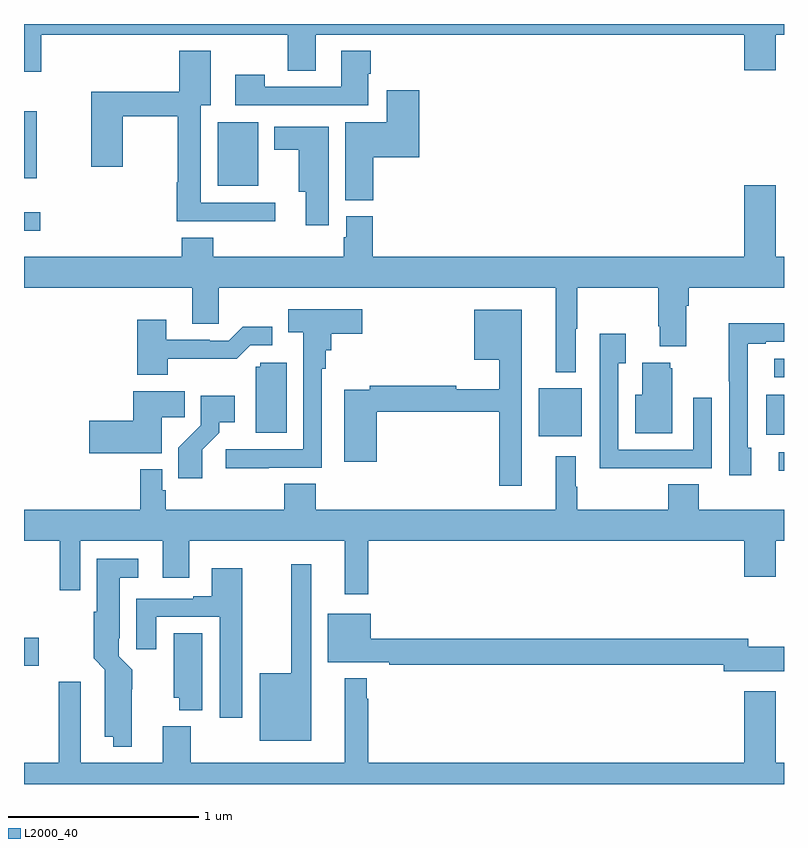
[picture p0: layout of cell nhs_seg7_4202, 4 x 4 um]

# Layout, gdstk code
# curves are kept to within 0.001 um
import gdstk
lib = gdstk.Library(unit=1e-6, precision=1e-09)
def R(c, l, rs):  # rectangles x0, y0, x1, y1
    for r in rs: c.add(gdstk.rectangle(r[:2], r[2:], *l))
def P(c, l, *ps):  # polygons
    for p in ps: c.add(gdstk.Polygon(p, *l))
L2000_40 = (2000, 40)

nhs_seg7_4202 = lib.new_cell('nhs_seg7_4202')
R(nhs_seg7_4202, L2000_40, [(377,1002.623,377.077,1002.77), (380.973,1003.649,381,1003.746), (379.709,1003.829,379.936,1004.083), (380.906,1003.838,381,1004.05), (380.949,1004.142,381,1004.238), (377,1004.912,377.086,1005.009), (378.02,1005.149,378.232,1005.484), (377,1005.188,377.068,1005.541)])
P(nhs_seg7_4202, L2000_40, [(377.09,1005.944),(378.388,1005.944),(378.388,1005.754),(378.535,1005.754),(378.535,1005.944),(380.792,1005.944),(380.792,1005.756),(380.956,1005.756),(380.956,1005.944),(381,1005.944),(381,1006),(377,1006),(377,1005.75),(377.09,1005.75)],
  [(378.322,1005.06),(377.929,1005.06),(377.929,1005.572),(377.983,1005.572),(377.983,1005.859),(377.816,1005.859),(377.816,1005.643),(377.354,1005.643),(377.354,1005.249),(377.52,1005.249),(377.52,1005.514),(377.809,1005.514),(377.809,1005.167),(377.804,1005.167),(377.804,1004.963),(378.322,1004.963)],
  [(378.811,1005.739),(378.824,1005.739),(378.824,1005.859),(378.671,1005.859),(378.671,1005.669),(378.267,1005.669),(378.267,1005.733),(378.111,1005.733),(378.111,1005.573),(378.811,1005.573)],
  [(378.839,1005.299),(379.079,1005.299),(379.079,1005.652),(378.908,1005.652),(378.908,1005.484),(378.692,1005.484),(378.692,1005.073),(378.839,1005.073)],
  [(378.604,1005.46),(378.317,1005.46),(378.317,1005.338),(378.446,1005.338),(378.446,1005.116),(378.482,1005.116),(378.482,1004.94),(378.604,1004.94)],
  [(379.903,1004.396),(379.913,1004.396),(379.913,1004.612),(380.338,1004.612),(380.338,1004.41),(380.345,1004.41),(380.345,1004.303),(380.485,1004.303),(380.485,1004.516),(380.498,1004.516),(380.498,1004.612),(381,1004.612),(381,1004.776),(380.956,1004.776),(380.956,1005.151),(380.792,1005.151),(380.792,1004.776),(378.836,1004.776),(378.836,1004.988),(378.695,1004.988),(378.695,1004.877),(378.683,1004.877),(378.683,1004.776),(377.996,1004.776),(377.996,1004.875),(377.831,1004.875),(377.831,1004.776),(377,1004.776),(377,1004.612),(377.885,1004.612),(377.885,1004.422),(378.024,1004.422),(378.024,1004.612),(379.799,1004.612),(379.799,1004.168),(379.903,1004.168)],
  [(378.287,1003.665),(378.567,1003.665),(378.567,1004.186),(378.587,1004.186),(378.587,1004.282),(378.617,1004.282),(378.617,1004.371),(378.781,1004.371),(378.781,1004.5),(378.391,1004.5),(378.391,1004.378),(378.471,1004.378),(378.471,1003.761),(378.063,1003.761),(378.063,1003.663),(378.287,1003.663)],
  [(379.621,1004.497),(379.37,1004.497),(379.37,1004.234),(379.5,1004.234),(379.5,1004.077),(379.274,1004.077),(379.274,1004.096),(378.82,1004.096),(378.82,1004.076),(378.686,1004.076),(378.686,1003.695),(378.857,1003.695),(378.857,1003.96),(379.5,1003.96),(379.5,1003.569),(379.621,1003.569)],
  [(377.757,1004.238),(378.119,1004.237),(378.192,1004.31),(378.306,1004.31),(378.306,1004.407),(378.151,1004.407),(378.078,1004.334),(377.978,1004.334),(377.978,1004.337),(377.749,1004.337),(377.749,1004.443),(377.597,1004.443),(377.597,1004.153),(377.757,1004.153)],
  [(380.827,1003.77),(380.808,1003.77),(380.808,1004.316),(380.905,1004.316),(380.905,1004.328),(381,1004.328),(381,1004.426),(380.71,1004.426),(380.71,1004.119),(380.712,1004.119),(380.712,1003.626),(380.827,1003.626)],
  [(380.303,1003.662),(380.619,1003.662),(380.619,1004.032),(380.523,1004.032),(380.523,1003.758),(380.127,1003.758),(380.127,1004.215),(380.167,1004.215),(380.167,1004.371),(380.031,1004.371),(380.031,1003.661),(380.303,1003.661)],
  [(380.413,1004.187),(380.402,1004.187),(380.402,1004.218),(380.255,1004.218),(380.255,1004.05),(380.216,1004.05),(380.216,1003.847),(380.413,1003.847)],
  [(378.382,1004.217),(378.243,1004.217),(378.243,1004.196),(378.221,1004.196),(378.221,1003.848),(378.382,1003.848)],
  [(377.725,1003.93),(377.846,1003.93),(377.846,1004.068),(377.576,1004.068),(377.576,1003.913),(377.343,1003.913),(377.343,1003.742),(377.725,1003.742)],
  [(377.938,1003.759),(378.028,1003.849),(378.028,1003.904),(378.109,1003.904),(378.109,1004.044),(377.931,1004.044),(377.931,1003.889),(377.812,1003.77),(377.812,1003.608),(377.938,1003.608)],
  [(377.729,1003.086),(377.869,1003.086),(377.869,1003.28),(378.689,1003.28),(378.689,1002.999),(378.811,1002.999),(378.811,1003.28),(380.792,1003.28),(380.792,1003.092),(380.956,1003.092),(380.956,1003.28),(381,1003.28),(381,1003.444),(380.552,1003.444),(380.552,1003.577),(380.392,1003.577),(380.392,1003.444),(379.913,1003.444),(379.913,1003.565),(379.903,1003.565),(379.903,1003.726),(379.799,1003.726),(379.799,1003.444),(378.536,1003.444),(378.536,1003.58),(378.371,1003.58),(378.371,1003.444),(377.747,1003.444),(377.747,1003.545),(377.727,1003.545),(377.727,1003.657),(377.611,1003.657),(377.611,1003.444),(377,1003.444),(377,1003.28),(377.187,1003.28),(377.187,1003.02),(377.295,1003.02),(377.295,1003.28),(377.729,1003.28)],
  [(377.568,1002.5),(377.569,1002.602),(377.499,1002.672),(377.499,1002.766),(377.503,1002.766),(377.503,1003.085),(377.602,1003.085),(377.602,1003.186),(377.384,1003.186),(377.384,1002.906),(377.366,1002.906),(377.366,1002.661),(377.426,1002.602),(377.426,1002.248),(377.471,1002.248),(377.471,1002.197),(377.568,1002.197)],
  [(378.511,1003.156),(378.407,1003.156),(378.407,1002.583),(378.242,1002.583),(378.242,1002.227),(378.511,1002.227)],
  [(378.148,1003.135),(377.987,1003.135),(377.987,1002.988),(377.891,1002.988),(377.891,1002.975),(377.591,1002.975),(377.591,1002.708),(377.695,1002.708),(377.695,1002.879),(378.029,1002.879),(378.029,1002.348),(378.148,1002.348)],
  [(381,1002.723),(380.812,1002.723),(380.812,1002.764),(378.826,1002.764),(378.826,1002.895),(378.599,1002.895),(378.599,1002.641),(378.922,1002.641),(378.922,1002.628),(380.684,1002.628),(380.684,1002.593),(381,1002.593)],
  [(377.938,1002.794),(377.789,1002.794),(377.789,1002.453),(377.816,1002.453),(377.816,1002.389),(377.938,1002.389)],
  [(378.689,1002.556),(378.689,1002.112),(377.877,1002.112),(377.877,1002.304),(377.729,1002.304),(377.729,1002.112),(377.299,1002.112),(377.299,1002.538),(377.182,1002.538),(377.182,1002.112),(377,1002.112),(377,1002),(381,1002),(381,1002.112),(380.956,1002.112),(380.956,1002.487),(380.792,1002.487),(380.792,1002.112),(378.811,1002.112),(378.811,1002.449),(378.804,1002.449),(378.804,1002.556)])

lib.write_gds('nhs_seg7_4202.gds')
